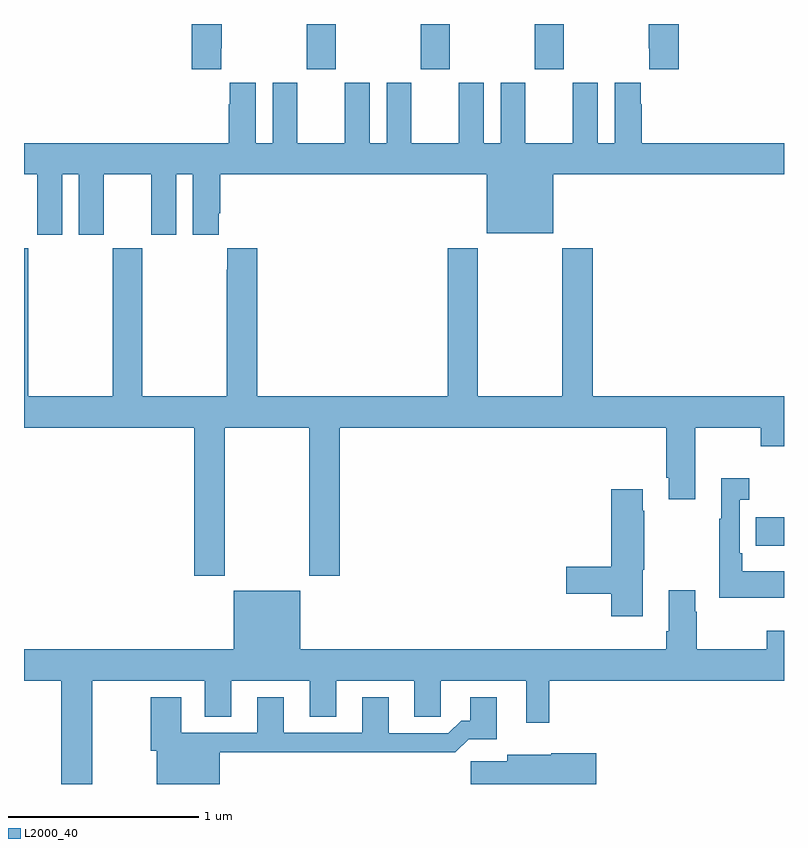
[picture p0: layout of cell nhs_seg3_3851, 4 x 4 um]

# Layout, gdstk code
import gdstk
lib = gdstk.Library(unit=1e-6, precision=1e-09)
def R(c, l, rs):  # rectangles x0, y0, x1, y1
    for r in rs: c.add(gdstk.rectangle(r[:2], r[2:], *l))
def A(c, l, x, y, w, h, nx, ny, dx, dy):  # array of equal rectangles
    R(c, l, [(x+i*dx, y+j*dy, x+i*dx+w, y+j*dy+h) for i in range(nx) for j in range(ny)])
def P(c, l, *ps):  # polygons
    for p in ps: c.add(gdstk.Polygon(p, *l))
L2000_40 = (2000, 40)

nhs_seg3_3851 = lib.new_cell('nhs_seg3_3851')
A(nhs_seg3_3851, L2000_40, 312.487, 676.161, 0.155, 0.239, 3, 1, 0.6, 0)
R(nhs_seg3_3851, L2000_40, [(314.851,673.655,315,673.803)])
P(nhs_seg3_3851, L2000_40, [(314.447,676.4),(314.287,676.4),(314.287,676.273),(314.291,676.273),(314.291,676.161),(314.447,676.161)],
  [(312.037,676.273),(312.042,676.273),(312.042,676.4),(311.882,676.4),(311.882,676.161),(312.037,676.161)],
  [(311,675.608),(311.069,675.608),(311.069,675.291),(311.2,675.291),(311.2,675.608),(311.288,675.608),(311.288,675.291),(311.419,675.291),(311.419,675.608),(311.669,675.608),(311.669,675.291),(311.8,675.291),(311.8,675.608),(311.888,675.608),(311.888,675.291),(312.025,675.291),(312.025,675.403),(312.032,675.403),(312.032,675.608),(313.436,675.608),(313.436,675.299),(313.786,675.299),(313.786,675.608),(315,675.608),(315,675.772),(314.252,675.772),(314.252,675.977),(314.245,675.977),(314.245,676.09),(314.108,676.09),(314.108,675.772),(314.02,675.772),(314.02,676.09),(313.889,676.09),(313.889,675.772),(313.639,675.772),(313.639,676.09),(313.508,676.09),(313.508,675.772),(313.42,675.772),(313.42,676.09),(313.289,676.09),(313.289,675.772),(313.039,675.772),(313.039,676.09),(312.908,676.09),(312.908,675.772),(312.82,675.772),(312.82,676.09),(312.689,676.09),(312.689,675.772),(312.439,675.772),(312.439,676.09),(312.308,676.09),(312.308,675.772),(312.22,675.772),(312.22,676.09),(312.083,676.09),(312.083,675.977),(312.077,675.977),(312.077,675.772),(311,675.772)],
  [(311.622,675.22),(311.467,675.22),(311.467,674.44),(311.022,674.44),(311.022,675.22),(311,675.22),(311,674.276),(311.897,674.276),(311.897,673.497),(312.057,673.497),(312.057,674.276),(312.502,674.276),(312.502,673.497),(312.662,673.497),(312.662,674.276),(314.381,674.276),(314.381,674.011),(314.393,674.011),(314.393,673.899),(314.533,673.899),(314.533,674.276),(314.878,674.276),(314.878,674.177),(315,674.177),(315,674.44),(313.994,674.44),(313.994,675.22),(313.834,675.22),(313.834,674.44),(313.389,674.44),(313.389,675.22),(313.229,675.22),(313.229,674.44),(312.227,674.44),(312.227,675.22),(312.071,675.22),(312.071,675.107),(312.067,675.107),(312.067,674.44),(311.622,674.44)],
  [(315,673.519),(314.779,673.519),(314.779,673.615),(314.766,673.615),(314.766,673.895),(314.818,673.895),(314.818,674.008),(314.669,674.008),(314.669,673.795),(314.658,673.795),(314.658,673.379),(315,673.379)],
  [(314.257,673.527),(314.265,673.527),(314.265,673.838),(314.257,673.838),(314.257,673.951),(314.09,673.951),(314.09,673.544),(313.854,673.544),(313.854,673.402),(314.09,673.402),(314.09,673.284),(314.257,673.284)],
  [(311.359,672.944),(311.951,672.944),(311.951,672.754),(312.091,672.754),(312.091,672.944),(312.503,672.944),(312.503,672.754),(312.643,672.754),(312.643,672.944),(313.055,672.944),(313.055,672.754),(313.194,672.754),(313.194,672.944),(313.643,672.944),(313.643,672.723),(313.765,672.723),(313.765,672.944),(315,672.944),(315,673.207),(314.908,673.207),(314.908,673.108),(314.541,673.108),(314.541,673.307),(314.533,673.307),(314.533,673.42),(314.393,673.42),(314.393,673.204),(314.381,673.204),(314.381,673.108),(312.454,673.108),(312.454,673.417),(312.104,673.417),(312.104,673.108),(311,673.108),(311,672.944),(311.195,672.944),(311.195,672.4),(311.359,672.4)],
  [(312.031,672.568),(313.015,672.568),(313.015,672.566),(313.271,672.566),(313.34,672.635),(313.489,672.635),(313.489,672.856),(313.349,672.856),(313.349,672.733),(313.3,672.733),(313.233,672.666),(312.919,672.666),(312.919,672.856),(312.779,672.856),(312.779,672.669),(312.367,672.669),(312.367,672.856),(312.227,672.856),(312.227,672.669),(311.827,672.669),(311.827,672.856),(311.668,672.856),(311.668,672.576),(311.699,672.576),(311.699,672.4),(312.031,672.4)],
  [(314.011,672.561),(313.776,672.561),(313.776,672.553),(313.544,672.553),(313.544,672.521),(313.35,672.521),(313.35,672.4),(314.011,672.4)])

lib.write_gds('nhs_seg3_3851.gds')
